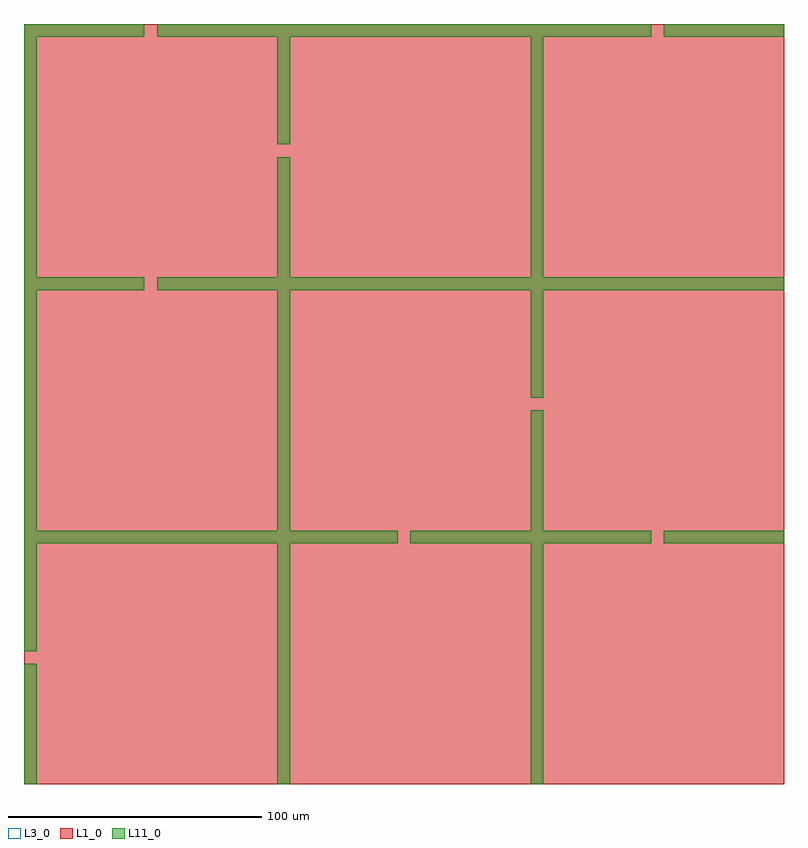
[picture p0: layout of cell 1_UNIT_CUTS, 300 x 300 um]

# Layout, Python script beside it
import os
root = os.path.dirname( os.path.abspath(__file__) )

# Create KLayout object
import pya
KLAYOUT = pya.Layout()

# Create Top Cell Name & Obj of the GDS to be EXPORTED
TOP_CELL = KLAYOUT.create_cell("1_UNIT_CUTS")

# Define array of GDS files to read
gds_files = [ "1_unit_3x3.gds" ]

# Define layer #'s
l_metal     = KLAYOUT.layer(11, 0) # Metal
l_cut_box   = KLAYOUT.layer(8, 0) # Cut Box

# Define dimensions
dim = {
  "line_width": 5*1000, # 5 um
  "cut_width": 5*1000, # 5 um
  "pitch": 100*1000, # 100 um
}

# Define cut locations
cut_loc = {
    "1_unit_3x3_with_cuts" : [
        "7_t", "8_l", "9_t",
        "4_t",        "6_l",
        "1_l", "2_t", "3_t",
    ]
}


def get_cut_coord(each_cut_s, dim):
    # First, get COL number from name ("2_l")
    if "1" in each_cut_s or "4" in each_cut_s or "7" in each_cut_s:
        col = 0
    elif "2" in each_cut_s or "5" in each_cut_s or "8" in each_cut_s:
        col = 1
    elif "3" in each_cut_s or "6" in each_cut_s or "9" in each_cut_s:
        col = 2

    # Next, get ROW number from name ("2_l")
    if "1" in each_cut_s or "2" in each_cut_s or "3" in each_cut_s:
        row = 0
    elif "4" in each_cut_s or "5" in each_cut_s or "6" in each_cut_s:
        row = 1
    elif "7" in each_cut_s or "8" in each_cut_s or "9" in each_cut_s:
        row = 2

    # Get location info from name ("2_l")
    # (pre-define some of re-used coordinates here)
    l_x1 = dim["pitch"] * col
    l_x2 = dim["pitch"] * col + dim["cut_width"]
    l_y1 = dim["pitch"] * row + (dim["pitch"] / 2 - dim["cut_width"] / 2)
    l_y2 = dim["pitch"] * row + (dim["pitch"] / 2 + dim["cut_width"] / 2)

    t_x1 = dim["pitch"] * col + (dim["pitch"] / 2 - dim["cut_width"] / 2)
    t_x2 = dim["pitch"] * col + (dim["pitch"] / 2 + dim["cut_width"] / 2)
    t_y1 = dim["pitch"] * row + (dim["pitch"] - dim["cut_width"])
    t_y2 = dim["pitch"] * row + dim["pitch"]

    if "l" in each_cut_s:
        cut_box = pya.Box(l_x1, l_y1, l_x2, l_y2)
    elif "t" in each_cut_s:
        cut_box = pya.Box(t_x1, t_y1, t_x2, t_y2)
    else:
        print("NO cut name such as : ", each_cut_s)

    return cut_box

def main():
    # Loop each cut locations, & assign GDS name from key
    for key in cut_loc:
        filename = key
        print("\nfilename : ", filename)

        # Read 1_UNIT (no cuts as a reference) & create SINGLE instance
        for each_gds in gds_files:
            KLAYOUT.read(each_gds)

            # Read Top Cell for each GDS file
            for top_cell_read in KLAYOUT.top_cells():
                if (top_cell_read.name != "1_UNIT_CUTS"):  # Don't insert TOP_CELL("1_UNIT_CUTS") on itself
                    # print ( "Adding " + top_cell_read.name )
                    cell_index = top_cell_read.cell_index()
                    new_instance = pya.CellInstArray(cell_index, pya.Trans(pya.Point(0, 0)))
                    # pya.Trans(pya.Point(0,0)) --> defines the LOCATION at which instance should be placed
                    TOP_CELL.insert(new_instance)

        # Define imported metal as a region (for boolean)
        region_metal = pya.Region(KLAYOUT.top_cell().begin_shapes_rec(l_metal))

        # Define cut area & make as region
        for ind, each_cut in enumerate(cut_loc[key]):
            cut_box_coord = get_cut_coord(each_cut, dim)
            TOP_CELL.shapes(l_cut_box).insert(cut_box_coord)
            region_cut_box = pya.Region(cut_box_coord)
            # Do boolean (XOR)
            # For more than 1 cuts, need to loop and take XOR of previous XOR results
            if ind == 0:
                region_xor = region_metal ^ region_cut_box
            else:
                region_xor = region_xor ^ region_cut_box

        # Remove existings metal layer + cut boxes
        # (!!! SKIP THIS TO CHECK CUT BOXES IN GDS !!!)
        KLAYOUT.clear_layer(l_metal)
        KLAYOUT.clear_layer(l_cut_box)

        # INSERT BOOLEAN RESULT AS ORIGINAL METAL LAYER
        TOP_CELL.shapes(l_metal).insert(region_xor)
        # Check if filename gds exists -> If so skip "write"
        if os.path.isfile( root+"/"+filename+".gds" ):
            print ("**** GDS name by : "+filename+".gds already exists!" )
            print ("**** SKIPPING GDS WRITE!!!" )
        else:
            # Export GDS
            KLAYOUT.write( filename+".gds" )

if __name__ == '__main__':
  main()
